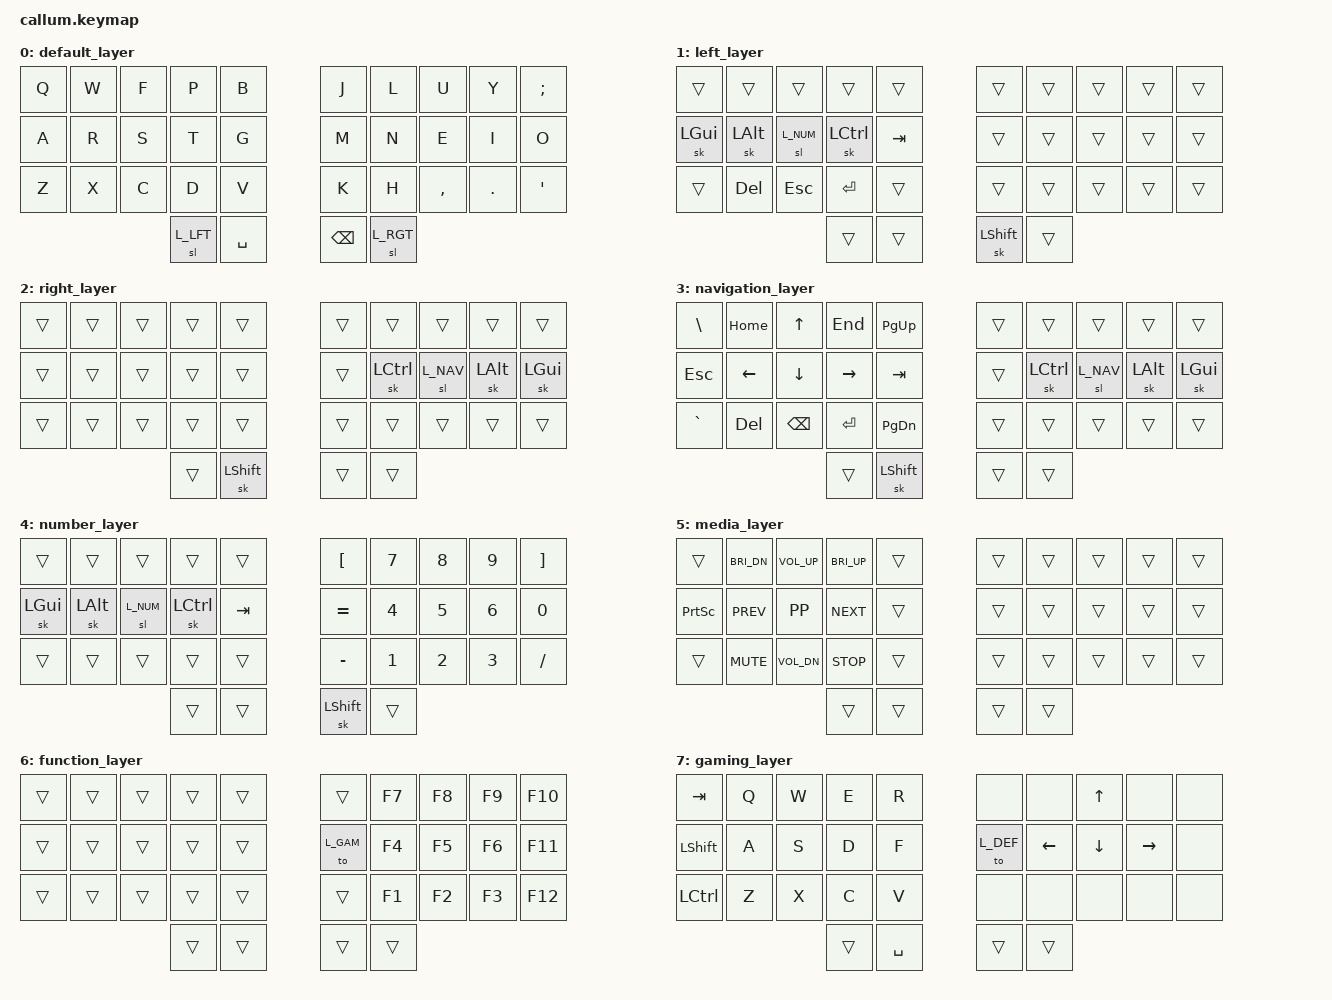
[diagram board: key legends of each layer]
/*
 * Copyright (c) 2020 The ZMK Contributors
 *
 * SPDX-License-Identifier: MIT
 */

#include <behaviors.dtsi>
#include <dt-bindings/zmk/bt.h>
#include <dt-bindings/zmk/keys.h>

// GENERAL KEYS
#define GEN_NONE &none
#define GEN_TRAN &trans

#define GEN_LCTL &sk LCTL
#define GEN_LGUI &sk LGUI
#define GEN_LALT &sk LALT
#define GEN_SHFT &sk LSHIFT

// DEFAULT LAYER

#define L_DEF 0

#define DEF_Q &kp Q
#define DEF_W &kp W
#define DEF_F &kp F
#define DEF_P &kp P
#define DEF_B &kp B
                        
#define DEF_A &kp A 
#define DEF_R &kp R 
#define DEF_S &kp S
#define DEF_T &kp T 
#define DEF_G &kp G
        
#define DEF_Z &kp Z
#define DEF_X &kp X
#define DEF_C &kp C
#define DEF_D &kp D
#define DEF_V &kp V
                        

#define DEF_J &kp J
#define DEF_L &kp L
#define DEF_U &kp U
#define DEF_Y &kp Y
#define DEF_SEMI &kp SEMI

#define DEF_K &kp K
#define DEF_H &kp H
#define DEF_COMA &kp COMMA
#define DEF_DOT &kp DOT
#define DEF_QUOT &kp SQT

#define DEF_M &kp M
#define DEF_N &kp N
#define DEF_E &kp E
#define DEF_I &kp I 
#define DEF_O &kp O

#define DEF_LEFT &sl L_LFT
#define DEF_SPC &kp SPC
#define DEF_BSPC &kp BSPC
#define DEF_RGHT &sl L_RGT

// LEFT LAYER
#define L_LFT 1
#define LFT_NUM &sl L_NUM

// RIGHT LAYER
#define L_RGT 2
#define RGT_NAV &sl L_NAV

// NAVIGATION LAYER
#define L_NAV 3

#define NAV_BSLH &kp BSLH
#define NAV_HOME &kp HOME
#define NAV_UP &kp UP
#define NAV_END &kp END
#define NAV_PGUP &kp PG_UP

#define NAV_ESC &kp ESC
#define NAV_LEFT &kp LEFT
#define NAV_DOWN &kp DOWN
#define NAV_RGHT &kp RIGHT
#define NAV_TAB &kp TAB

#define NAV_GRV &kp GRAVE
#define NAV_DEL &kp DEL
#define NAV_BSPC &kp BSPC
#define NAV_RET &kp RET
#define NAV_PGDN &kp PG_DN

// NUMBER LAYER
#define L_NUM 4

#define NUM_LBKT &kp LBKT
#define NUM_N7 &kp N7 
#define NUM_N8 &kp N8
#define NUM_N9 &kp N9
#define NUM_RBKT &kp RBKT 

#define NUM_EQUL &kp EQUAL
#define NUM_N4 &kp N4
#define NUM_N5 &kp N5
#define NUM_N6 &kp N6
#define NUM_N0 &kp N0

#define NUM_MIN &kp MINUS
#define NUM_N1 &kp N1
#define NUM_N2 &kp N2
#define NUM_N3 &kp N3
#define NUM_FSLH &kp FSLH

// MEDIA LAYER
#define L_MED 5

#define MED_BRID &kp C_BRI_DN
#define MED_VOLU &kp C_VOL_UP
#define MED_BRIU &kp C_BRI_UP


#define MED_PRNT &kp PSCRN
#define MED_PREV &kp C_PREV
#define MED_PLAY &kp K_PP
#define MED_NEXT &kp C_NEXT

#define MED_MUTE &kp C_MUTE
#define MED_VOLD &kp C_VOL_DN
#define MED_STOP &kp C_STOP

// FUNCTION LAYER
#define L_FUN 6

#define FUN_F7 &kp F7
#define FUN_F8 &kp F8
#define FUN_F9 &kp F9
#define FUN_F10 &kp F10

#define FUN_GAME &to L_GAM
#define FUN_F4 &kp F4
#define FUN_F5 &kp F5
#define FUN_F6 &kp F6
#define FUN_F11 &kp F11

#define FUN_BOOT &bootloader
#define FUN_F1 &kp F1
#define FUN_F2 &kp F2
#define FUN_F3 &kp F3
#define FUN_F13 &kp F12

// GAMING LAYER
#define L_GAM 7

#define GAM_TAB &kp TAB
#define GAM_Q &kp Q
#define GAM_W &kp W
#define GAM_E &kp E
#define GAM_R &kp R

#define GAM_LSFT &kp LSHIFT
#define GAM_A &kp A
#define GAM_S &kp S
#define GAM_D &kp D
#define GAM_F &kp F

#define GAM_LCTL &kp LCTRL
#define GAM_Z &kp Z
#define GAM_X &kp X
#define GAM_C &kp C
#define GAM_V &kp V


#define GAM_UP &kp UP

#define GAM_DEF &to L_DEF
#define GAM_LEFT &kp LEFT
#define GAM_DOWN &kp DOWN
#define GAM_RGHT &kp RIGHT

#define GAM_ESC &kp ESC
#define GAM_SPC &kp SPACE


&sk {
    release-after-ms = <1000>;
    quick-release;
};

&sl {
    release-after-ms = <1000>;
    quick-release;
};

/ {
  combos {
    compatible = "zmk,combos";
    combo_bspc {
      timeout-ms = <50>;
      key-positions = <15 16>;
      bindings = <&kp BSPC>;
    };

    combo_ret {
      timeout-ms = <50>;
      key-positions = <13 14>;
      bindings = <&kp RET>;
    };

    combo_esc {
      timeout-ms = <50>;
      key-positions = <23 24>;
      bindings = <&kp ESC>;
    };

    combo_del {
      timeout-ms = <50>;
      key-positions = <25 26>;
      bindings = <&kp DEL>;
    };

    combo_bootloader {
      timeout-ms = <50>;
      key-positions = <0 20>;
      bindings = <&bootloader>;
    };

    combo_btclr {
      timeout-ms = <50>;
      key-positions = <2 22>;
      bindings = <&bt BT_CLR>;
    };
  };

  keymap {
    compatible = "zmk,keymap";

    default_layer {
      bindings = <
        DEF_Q    DEF_W    DEF_F    DEF_P    DEF_B          DEF_J    DEF_L    DEF_U    DEF_Y    DEF_SEMI
        DEF_A    DEF_R    DEF_S    DEF_T    DEF_G          DEF_M    DEF_N    DEF_E    DEF_I    DEF_O
        DEF_Z    DEF_X    DEF_C    DEF_D    DEF_V          DEF_K    DEF_H    DEF_COMA DEF_DOT  DEF_QUOT
                                   DEF_LEFT DEF_SPC        DEF_BSPC DEF_RGHT
      >;
    };

    left_layer {
      bindings = <
        GEN_TRAN GEN_TRAN GEN_TRAN GEN_TRAN GEN_TRAN       GEN_TRAN GEN_TRAN GEN_TRAN GEN_TRAN GEN_TRAN
        GEN_LGUI GEN_LALT LFT_NUM  GEN_LCTL NAV_TAB        GEN_TRAN GEN_TRAN GEN_TRAN GEN_TRAN GEN_TRAN
        GEN_TRAN NAV_DEL  NAV_ESC  NAV_RET  GEN_TRAN       GEN_TRAN GEN_TRAN GEN_TRAN GEN_TRAN GEN_TRAN
                                   GEN_TRAN GEN_TRAN       GEN_SHFT GEN_TRAN
      >;
    };

    right_layer {
      bindings = <
        GEN_TRAN GEN_TRAN GEN_TRAN GEN_TRAN GEN_TRAN       GEN_TRAN GEN_TRAN GEN_TRAN GEN_TRAN GEN_TRAN
        GEN_TRAN GEN_TRAN GEN_TRAN GEN_TRAN GEN_TRAN       GEN_TRAN GEN_LCTL RGT_NAV GEN_LALT GEN_LGUI
        GEN_TRAN GEN_TRAN GEN_TRAN GEN_TRAN GEN_TRAN       GEN_TRAN GEN_TRAN GEN_TRAN GEN_TRAN GEN_TRAN
                                   GEN_TRAN GEN_SHFT       GEN_TRAN GEN_TRAN
      >;
    };

    navigation_layer {
      bindings = <
        NAV_BSLH NAV_HOME NAV_UP   NAV_END  NAV_PGUP       GEN_TRAN GEN_TRAN GEN_TRAN GEN_TRAN GEN_TRAN
        NAV_ESC  NAV_LEFT NAV_DOWN NAV_RGHT NAV_TAB        GEN_TRAN GEN_LCTL RGT_NAV GEN_LALT GEN_LGUI
        NAV_GRV  NAV_DEL  NAV_BSPC NAV_RET  NAV_PGDN       GEN_TRAN GEN_TRAN GEN_TRAN GEN_TRAN GEN_TRAN
                                   GEN_TRAN GEN_SHFT       GEN_TRAN GEN_TRAN
      >;
    };

    number_layer {
      bindings = <
        GEN_TRAN GEN_TRAN GEN_TRAN GEN_TRAN GEN_TRAN       NUM_LBKT NUM_N7    NUM_N8    NUM_N9    NUM_RBKT
        GEN_LGUI GEN_LALT LFT_NUM  GEN_LCTL NAV_TAB        NUM_EQUL NUM_N4    NUM_N5    NUM_N6    NUM_N0
        GEN_TRAN GEN_TRAN GEN_TRAN GEN_TRAN GEN_TRAN       NUM_MIN  NUM_N1    NUM_N2    NUM_N3    NUM_FSLH
                                   GEN_TRAN GEN_TRAN       GEN_SHFT GEN_TRAN
      >;
    };
    media_layer {
      bindings = <
        GEN_TRAN MED_BRID MED_VOLU MED_BRIU GEN_TRAN       GEN_TRAN GEN_TRAN GEN_TRAN GEN_TRAN GEN_TRAN
        MED_PRNT MED_PREV MED_PLAY MED_NEXT GEN_TRAN       GEN_TRAN GEN_TRAN GEN_TRAN GEN_TRAN GEN_TRAN
        GEN_TRAN MED_MUTE MED_VOLD MED_STOP GEN_TRAN       GEN_TRAN GEN_TRAN GEN_TRAN GEN_TRAN GEN_TRAN
                                   GEN_TRAN GEN_TRAN       GEN_TRAN GEN_TRAN
      >;
    };

    function_layer {
      bindings = <
        GEN_TRAN GEN_TRAN GEN_TRAN GEN_TRAN GEN_TRAN       GEN_TRAN FUN_F7   FUN_F8   FUN_F9   FUN_F10
        GEN_TRAN GEN_TRAN GEN_TRAN GEN_TRAN GEN_TRAN       FUN_GAME FUN_F4   FUN_F5   FUN_F6   FUN_F11
        GEN_TRAN GEN_TRAN GEN_TRAN GEN_TRAN GEN_TRAN       GEN_TRAN FUN_F1   FUN_F2   FUN_F3   FUN_F13
                                   GEN_TRAN GEN_TRAN       GEN_TRAN GEN_TRAN
      >;
    };

    gaming_layer {
      bindings = <
        GAM_TAB  GAM_Q    GAM_W    GAM_E    GAM_R       GEN_NONE GEN_NONE GAM_UP   GEN_NONE GEN_NONE
        GAM_LSFT GAM_A    GAM_S    GAM_D    GAM_F       GAM_DEF  GAM_LEFT GAM_DOWN GAM_RGHT GEN_NONE
        GAM_LCTL GAM_Z    GAM_X    GAM_C    GAM_V       GEN_NONE GEN_NONE GEN_NONE GEN_NONE GEN_NONE
                                   GEN_TRAN GAM_SPC     GEN_TRAN GEN_TRAN
      >;
    };

    // empty_layer {
    //   bindings = <
    //     GEN_TRAN GEN_TRAN GEN_TRAN GEN_TRAN GEN_TRAN       GEN_TRAN GEN_TRAN GEN_TRAN GEN_TRAN GEN_TRAN
    //     GEN_TRAN GEN_TRAN GEN_TRAN GEN_TRAN GEN_TRAN       GEN_TRAN GEN_TRAN GEN_TRAN GEN_TRAN GEN_TRAN
    //     GEN_TRAN GEN_TRAN GEN_TRAN GEN_TRAN GEN_TRAN       GEN_TRAN GEN_TRAN GEN_TRAN GEN_TRAN GEN_TRAN
    //                                GEN_TRAN GEN_TRAN       GEN_TRAN GEN_TRAN
    //   >;
    // };

  };
};
